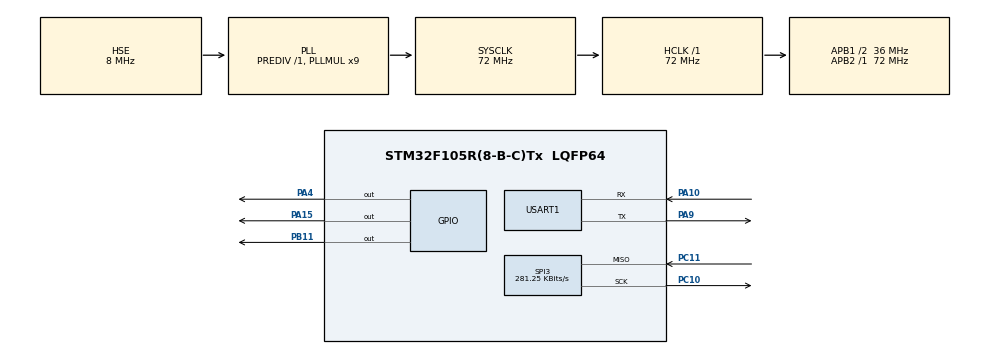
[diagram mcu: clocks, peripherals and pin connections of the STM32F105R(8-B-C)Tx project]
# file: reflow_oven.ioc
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Dma.Request0=USART1_RX
Dma.Request1=USART1_TX
Dma.USART1_RX.0.Direction=DMA_PERIPH_TO_MEMORY
Dma.USART1_RX.0.Instance=DMA1_Channel5
Dma.USART1_RX.0.MemDataAlignment=DMA_MDATAALIGN_BYTE
Dma.USART1_RX.0.MemInc=DMA_MINC_ENABLE
Dma.USART1_RX.0.Mode=DMA_CIRCULAR
Dma.USART1_RX.0.PeriphDataAlignment=DMA_PDATAALIGN_BYTE
Dma.USART1_RX.0.PeriphInc=DMA_PINC_DISABLE
Dma.USART1_RX.0.Priority=DMA_PRIORITY_LOW
Dma.USART1_TX.1.Direction=DMA_MEMORY_TO_PERIPH
Dma.USART1_TX.1.Instance=DMA1_Channel4
Dma.USART1_TX.1.MemDataAlignment=DMA_MDATAALIGN_BYTE
Dma.USART1_TX.1.MemInc=DMA_MINC_ENABLE
Dma.USART1_TX.1.Mode=DMA_NORMAL
Dma.USART1_TX.1.PeriphDataAlignment=DMA_PDATAALIGN_BYTE
Dma.USART1_TX.1.PeriphInc=DMA_PINC_DISABLE
Dma.USART1_TX.1.Priority=DMA_PRIORITY_LOW
FREERTOS.MEMORY_ALLOCATION=1
FREERTOS.Tasks01=defaultTask,0,128,StartDefaultTask,Default,NULL,Static,defaultTaskBuffer,defaultTaskControlBlock
FREERTOS.configMINIMAL_STACK_SIZE=72
FREERTOS.configTIMER_TASK_STACK_DEPTH=72
FREERTOS.configUSE_COUNTING_SEMAPHORES=1
FREERTOS.configUSE_TIMERS=1
Mcu.Family=STM32F1
Mcu.Name=STM32F105R(8-B-C)Tx
Mcu.Package=LQFP64
NVIC.DMA1_Channel4_IRQn=true\:5\:0\:false\:false\:true\:true\:false\:true
NVIC.DMA1_Channel5_IRQn=true\:5\:0\:false\:false\:true\:true\:false\:true
NVIC.PriorityGroup=NVIC_PRIORITYGROUP_4
NVIC.TIM6_IRQn=true\:0\:0\:false\:false\:true\:false\:false\:true
NVIC.TimeBase=TIM6_IRQn
NVIC.TimeBaseIP=TIM6
NVIC.USART1_IRQn=true\:5\:0\:false\:false\:true\:true\:true\:true
PA10.Mode=Asynchronous
PA10.Signal=USART1_RX
PA13.Mode=Trace_Asynchronous_SW
PA13.Signal=SYS_JTMS-SWDIO
PA14.Mode=Trace_Asynchronous_SW
PA14.Signal=SYS_JTCK-SWCLK
PA15.Signal=GPIO_Output
PA4.Signal=GPIO_Output
PA9.Mode=Asynchronous
PA9.Signal=USART1_TX
PB11.Signal=GPIO_Output
PB3.Mode=Trace_Asynchronous_SW
PB3.Signal=SYS_TRACESWO
PC10.Mode=RX_Only_Simplex_Unidirect_Master
PC10.Signal=SPI3_SCK
PC11.Mode=RX_Only_Simplex_Unidirect_Master
PC11.Signal=SPI3_MISO
PC14-OSC32_IN.Mode=LSE-External-Oscillator
PC14-OSC32_IN.Signal=RCC_OSC32_IN
PC15-OSC32_OUT.Mode=LSE-External-Oscillator
PC15-OSC32_OUT.Signal=RCC_OSC32_OUT
PD0-OSC_IN.Mode=HSE-External-Oscillator
PD0-OSC_IN.Signal=RCC_OSC_IN
PD1-OSC_OUT.Mode=HSE-External-Oscillator
PD1-OSC_OUT.Signal=RCC_OSC_OUT
ProjectManager.HeapSize=0x200
ProjectManager.StackSize=0x400
ProjectManager.TargetToolchain=MDK-ARM V5
RCC.AHBFreq_Value=72000000
RCC.APB1CLKDivider=RCC_HCLK_DIV2
RCC.APB1Freq_Value=36000000
RCC.APB1TimFreq_Value=72000000
RCC.APB2Freq_Value=72000000
RCC.APB2TimFreq_Value=72000000
RCC.HCLKFreq_Value=72000000
RCC.PLLMUL=RCC_PLL_MUL9
RCC.PLLSourceVirtual=RCC_PLLSOURCE_HSE
RCC.RTCClockSelection=RCC_RTCCLKSOURCE_LSE
RCC.SYSCLKFreq_VALUE=72000000
RCC.SYSCLKSource=RCC_SYSCLKSOURCE_PLLCLK
RCC.USBFreq_Value=48000000
SPI3.BaudRatePrescaler=SPI_BAUDRATEPRESCALER_128
SPI3.CalculateBaudRate=281.25 KBits/s
SPI3.DataSize=SPI_DATASIZE_16BIT
SPI3.Direction=SPI_DIRECTION_2LINES_RXONLY
SPI3.Mode=SPI_MODE_MASTER
SPI3.VirtualType=VM_MASTER
USART1.VirtualMode=VM_ASYNC
VP_CRC_VS_CRC.Mode=CRC_Activate
VP_FREERTOS_VS_CMSIS_V1.Mode=CMSIS_V1
VP_RTC_VS_RTC_Activate.Mode=RTC_Enabled
VP_SYS_VS_tim6.Mode=TIM6
board=custom

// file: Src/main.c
/* USER CODE BEGIN Header */
/**
  ******************************************************************************
  * @file           : main.c
  * @brief          : Main program body
  ******************************************************************************
  * @attention
  *
  * <h2><center>&copy; Copyright (c) 2019 STMicroelectronics.
  * All rights reserved.</center></h2>
  *
  * This software component is licensed by ST under BSD 3-Clause license,
  * the "License"; You may not use this file except in compliance with the
  * License. You may obtain a copy of the License at:
  *                        opensource.org/licenses/BSD-3-Clause
  *
  ******************************************************************************
  */
/* USER CODE END Header */

#include "main.h"
#include "cmsis_os.h"

/* USER CODE BEGIN Includes */
#include "nrc-money-logic.h"
/* USER CODE END Includes */

CRC_HandleTypeDef hcrc;

RTC_HandleTypeDef hrtc;

SPI_HandleTypeDef hspi3;

UART_HandleTypeDef huart1;
DMA_HandleTypeDef hdma_usart1_rx;
DMA_HandleTypeDef hdma_usart1_tx;

osThreadId defaultTaskHandle;
uint32_t defaultTaskBuffer[ 128 ];
osStaticThreadDef_t defaultTaskControlBlock;

void SystemClock_Config(void);
static void MX_GPIO_Init(void);
static void MX_DMA_Init(void);
static void MX_SPI3_Init(void);
static void MX_USART1_UART_Init(void);
static void MX_RTC_Init(void);
static void MX_CRC_Init(void);
void StartDefaultTask(void const * argument);

int main(void)
{

  /* MCU Configuration--------------------------------------------------------*/

  /* Reset of all peripherals, Initializes the Flash interface and the Systick. */
  HAL_Init();

  /* USER CODE BEGIN Init */
  money_init();
  /* USER CODE END Init */

  /* Configure the system clock */
  SystemClock_Config();

  /* Initialize all configured peripherals */
  MX_GPIO_Init();
  MX_DMA_Init();
  MX_SPI3_Init();
  MX_USART1_UART_Init();
  MX_RTC_Init();
  MX_CRC_Init();
  /* USER CODE BEGIN 2 */
	money_initReceiverIRQ();
  /* USER CODE END 2 */

  /* USER CODE BEGIN RTOS_QUEUES */
  /* add queues, ... */

#if false	// delete creation default FreeRTOS task(generated by cubeMX),
			// all tasks will be created in money_initTasks() function
  /* USER CODE END RTOS_QUEUES */

  /* Create the thread(s) */
  /* definition and creation of defaultTask */
  osThreadStaticDef(defaultTask, StartDefaultTask, osPriorityNormal, 0, 128, defaultTaskBuffer, &defaultTaskControlBlock);
  defaultTaskHandle = osThreadCreate(osThread(defaultTask), NULL);

  /* USER CODE BEGIN RTOS_THREADS */
#endif

  /* add threads, ... */
  money_initTasks();
  /* USER CODE END RTOS_THREADS */

  /* Start scheduler */
  osKernelStart();

  /* We should never get here as control is now taken by the scheduler */

  /* Infinite loop */
  while (1)
  {

  }
}

void SystemClock_Config(void)
{
  RCC_OscInitTypeDef RCC_OscInitStruct = {0};
  RCC_ClkInitTypeDef RCC_ClkInitStruct = {0};
  RCC_PeriphCLKInitTypeDef PeriphClkInit = {0};

  /** Initializes the CPU, AHB and APB busses clocks
  */
  RCC_OscInitStruct.OscillatorType = RCC_OSCILLATORTYPE_HSE|RCC_OSCILLATORTYPE_LSE;
  RCC_OscInitStruct.HSEState = RCC_HSE_ON;
  RCC_OscInitStruct.HSEPredivValue = RCC_HSE_PREDIV_DIV1;
  RCC_OscInitStruct.LSEState = RCC_LSE_ON;
  RCC_OscInitStruct.HSIState = RCC_HSI_ON;
  RCC_OscInitStruct.Prediv1Source = RCC_PREDIV1_SOURCE_HSE;
  RCC_OscInitStruct.PLL.PLLState = RCC_PLL_ON;
  RCC_OscInitStruct.PLL.PLLSource = RCC_PLLSOURCE_HSE;
  RCC_OscInitStruct.PLL.PLLMUL = RCC_PLL_MUL9;
  RCC_OscInitStruct.PLL2.PLL2State = RCC_PLL_NONE;
  if (HAL_RCC_OscConfig(&RCC_OscInitStruct) != HAL_OK)
  {
    Error_Handler();
  }
  /** Initializes the CPU, AHB and APB busses clocks
  */
  RCC_ClkInitStruct.ClockType = RCC_CLOCKTYPE_HCLK|RCC_CLOCKTYPE_SYSCLK
                              |RCC_CLOCKTYPE_PCLK1|RCC_CLOCKTYPE_PCLK2;
  RCC_ClkInitStruct.SYSCLKSource = RCC_SYSCLKSOURCE_PLLCLK;
  RCC_ClkInitStruct.AHBCLKDivider = RCC_SYSCLK_DIV1;
  RCC_ClkInitStruct.APB1CLKDivider = RCC_HCLK_DIV2;
  RCC_ClkInitStruct.APB2CLKDivider = RCC_HCLK_DIV1;

  if (HAL_RCC_ClockConfig(&RCC_ClkInitStruct, FLASH_LATENCY_2) != HAL_OK)
  {
    Error_Handler();
  }
  PeriphClkInit.PeriphClockSelection = RCC_PERIPHCLK_RTC;
  PeriphClkInit.RTCClockSelection = RCC_RTCCLKSOURCE_LSE;
  if (HAL_RCCEx_PeriphCLKConfig(&PeriphClkInit) != HAL_OK)
  {
    Error_Handler();
  }
  /** Configure the Systick interrupt time
  */
  __HAL_RCC_PLLI2S_ENABLE();
}

static void MX_CRC_Init(void)
{

  hcrc.Instance = CRC;
  if (HAL_CRC_Init(&hcrc) != HAL_OK)
  {
    Error_Handler();
  }

}

static void MX_RTC_Init(void)
{

  /** Initialize RTC Only
  */
  hrtc.Instance = RTC;
  hrtc.Init.AsynchPrediv = RTC_AUTO_1_SECOND;
  hrtc.Init.OutPut = RTC_OUTPUTSOURCE_ALARM;
  if (HAL_RTC_Init(&hrtc) != HAL_OK)
  {
    Error_Handler();
  }

}

static void MX_SPI3_Init(void)
{

  /* SPI3 parameter configuration*/
  hspi3.Instance = SPI3;
  hspi3.Init.Mode = SPI_MODE_MASTER;
  hspi3.Init.Direction = SPI_DIRECTION_2LINES_RXONLY;
  hspi3.Init.DataSize = SPI_DATASIZE_16BIT;
  hspi3.Init.CLKPolarity = SPI_POLARITY_LOW;
  hspi3.Init.CLKPhase = SPI_PHASE_1EDGE;
  hspi3.Init.NSS = SPI_NSS_SOFT;
  hspi3.Init.BaudRatePrescaler = SPI_BAUDRATEPRESCALER_128;
  hspi3.Init.FirstBit = SPI_FIRSTBIT_MSB;
  hspi3.Init.TIMode = SPI_TIMODE_DISABLE;
  hspi3.Init.CRCCalculation = SPI_CRCCALCULATION_DISABLE;
  hspi3.Init.CRCPolynomial = 10;
  if (HAL_SPI_Init(&hspi3) != HAL_OK)
  {
    Error_Handler();
  }
  /* USER CODE BEGIN SPI3_Init 2 */
	HAL_GPIO_WritePin(GPIOA, GPIO_PIN_4, GPIO_PIN_SET);
  /* USER CODE END SPI3_Init 2 */

}

static void MX_USART1_UART_Init(void)
{

  huart1.Instance = USART1;
  huart1.Init.BaudRate = 115200;
  huart1.Init.WordLength = UART_WORDLENGTH_8B;
  huart1.Init.StopBits = UART_STOPBITS_1;
  huart1.Init.Parity = UART_PARITY_NONE;
  huart1.Init.Mode = UART_MODE_TX_RX;
  huart1.Init.HwFlowCtl = UART_HWCONTROL_NONE;
  huart1.Init.OverSampling = UART_OVERSAMPLING_16;
  if (HAL_UART_Init(&huart1) != HAL_OK)
  {
    Error_Handler();
  }

}

static void MX_DMA_Init(void)
{
  /* DMA controller clock enable */
  __HAL_RCC_DMA1_CLK_ENABLE();

  /* DMA interrupt init */
  /* DMA1_Channel4_IRQn interrupt configuration */
  HAL_NVIC_SetPriority(DMA1_Channel4_IRQn, 5, 0);
  HAL_NVIC_EnableIRQ(DMA1_Channel4_IRQn);
  /* DMA1_Channel5_IRQn interrupt configuration */
  HAL_NVIC_SetPriority(DMA1_Channel5_IRQn, 5, 0);
  HAL_NVIC_EnableIRQ(DMA1_Channel5_IRQn);

}

static void MX_GPIO_Init(void)
{
  GPIO_InitTypeDef GPIO_InitStruct = {0};

  /* GPIO Ports Clock Enable */
  __HAL_RCC_GPIOC_CLK_ENABLE();
  __HAL_RCC_GPIOD_CLK_ENABLE();
  __HAL_RCC_GPIOA_CLK_ENABLE();
  __HAL_RCC_GPIOB_CLK_ENABLE();

  /*Configure GPIO pin Output Level */
  HAL_GPIO_WritePin(GPIOA, GPIO_PIN_4|GPIO_PIN_15, GPIO_PIN_RESET);

  /*Configure GPIO pin Output Level */
  HAL_GPIO_WritePin(GPIOB, GPIO_PIN_11, GPIO_PIN_RESET);

  /*Configure GPIO pins : PA4 PA15 */
  GPIO_InitStruct.Pin = GPIO_PIN_4|GPIO_PIN_15;
  GPIO_InitStruct.Mode = GPIO_MODE_OUTPUT_PP;
  GPIO_InitStruct.Pull = GPIO_NOPULL;
  GPIO_InitStruct.Speed = GPIO_SPEED_FREQ_LOW;
  HAL_GPIO_Init(GPIOA, &GPIO_InitStruct);

  /*Configure GPIO pin : PB11 */
  GPIO_InitStruct.Pin = GPIO_PIN_11;
  GPIO_InitStruct.Mode = GPIO_MODE_OUTPUT_PP;
  GPIO_InitStruct.Pull = GPIO_NOPULL;
  GPIO_InitStruct.Speed = GPIO_SPEED_FREQ_LOW;
  HAL_GPIO_Init(GPIOB, &GPIO_InitStruct);

}

/* USER CODE BEGIN 4 */
void HAL_UART_RxCpltCallback(UART_HandleTypeDef *huart)
{
	if (huart->Instance == USART1) {
		const uint16_t curCNDTR = __HAL_DMA_GET_COUNTER(&hdma_usart1_rx);
		if (__HAL_UART_GET_FLAG(&huart1, UART_FLAG_IDLE)) {
			NRC_UART_RxEvent(NRC_EVENT_TRANSFER_COMPLETED, curCNDTR);
		}
		else {
			NRC_UART_RxEvent(NRC_EVENT_FULL_BUF, curCNDTR);
		}
	}
}

void HAL_UART_RxHalfCallback(UART_HandleTypeDef *huart)
{
	if (huart->Instance == USART1) {
		NRC_UART_RxEvent(NRC_EVENT_HALF_BUF, __HAL_DMA_GET_COUNTER(&hdma_usart1_rx));
	}
}

// interrupt on completion of SEND message
void HAL_UART_TxCpltCallback(UART_HandleTypeDef *huart)
{
	if (huart->Instance == USART1) {
		TxBuf.state = BufState_USED_BY_PROC;
		xSemaphoreGiveFromISR(TxBufSem, NULL);
	}
}

/* USER CODE END 4 */

void StartDefaultTask(void const * argument)
{

}

void HAL_TIM_PeriodElapsedCallback(TIM_HandleTypeDef *htim)
{
  if (htim->Instance == TIM6) {
    HAL_IncTick();
  }
}

void Error_Handler(void)
{
}

/************************ (C) COPYRIGHT STMicroelectronics *****END OF FILE****/
